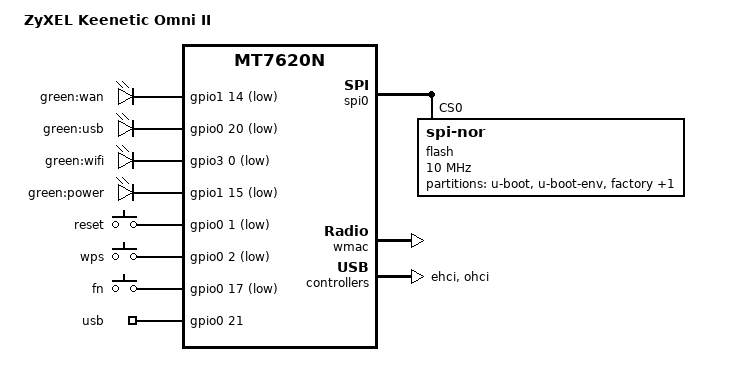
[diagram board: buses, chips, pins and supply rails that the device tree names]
#include "mt7620n.dtsi"

#include <dt-bindings/gpio/gpio.h>
#include <dt-bindings/input/input.h>

/ {
	compatible = "zyxel,keenetic-omni-ii", "ralink,mt7620n-soc";
	model = "ZyXEL Keenetic Omni II";

	aliases {
		led-boot = &led_power;
		led-failsafe = &led_power;
		led-running = &led_power;
		led-upgrade = &led_power;
	};

	leds {
		compatible = "gpio-leds";

		wan {
			label = "green:wan";
			gpios = <&gpio1 14 GPIO_ACTIVE_LOW>;
		};

		usb {
			label = "green:usb";
			gpios = <&gpio0 20 GPIO_ACTIVE_LOW>;
			trigger-sources = <&ohci_port1>, <&ehci_port1>;
			linux,default-trigger = "usbport";
		};

		wifi {
			label = "green:wifi";
			gpios = <&gpio3 0 GPIO_ACTIVE_LOW>;
		};

		led_power: power {
			label = "green:power";
			gpios = <&gpio1 15 GPIO_ACTIVE_LOW>;
		};
	};

	keys {
		compatible = "gpio-keys";

		reset {
			label = "reset";
			gpios = <&gpio0 1 GPIO_ACTIVE_LOW>;
			linux,code = <KEY_RESTART>;
		};

		wps {
			label = "wps";
			gpios = <&gpio0 2 GPIO_ACTIVE_LOW>;
			linux,code = <KEY_WPS_BUTTON>;
		};

		fn {
			label = "fn";
			gpios = <&gpio0 17 GPIO_ACTIVE_LOW>;
			linux,code = <BTN_0>;
		};
	};

	gpio_export {
		compatible = "gpio-export";
		#size-cells = <0>;

		usb_power {
			gpio-export,name = "usb";
			gpio-export,output = <1>;
			gpios = <&gpio0 21 GPIO_ACTIVE_HIGH>;
		};
	};
};

&gpio1 {
	status = "okay";
};

&gpio3 {
	status = "okay";
};

&spi0 {
	status = "okay";

	flash@0 {
		compatible = "jedec,spi-nor";
		reg = <0>;
		spi-max-frequency = <10000000>;

		partitions {
			compatible = "fixed-partitions";
			#address-cells = <1>;
			#size-cells = <1>;

			partition@0 {
				label = "u-boot";
				reg = <0x0 0x30000>;
				read-only;
			};

			partition@30000 {
				label = "u-boot-env";
				reg = <0x30000 0x10000>;
				read-only;
			};

			factory: partition@40000 {
				label = "factory";
				reg = <0x40000 0x10000>;
				read-only;
			};

			partition@50000 {
				compatible = "denx,uimage";
				label = "firmware";
				reg = <0x50000 0x7b0000>;
			};
		};
	};
};

&state_default {
	gpio {
		groups = "i2c", "wdt", "pa", "spi refclk", "wled";
		function = "gpio";
	};
};

&ethernet {
	nvmem-cells = <&macaddr_factory_4>;
	nvmem-cell-names = "mac-address";

	mediatek,portmap = "wllll";
};

&wmac {
	ralink,mtd-eeprom = <&factory 0x0>;
};

&ehci {
	status = "okay";
};

&ohci {
	status = "okay";
};

&factory {
	compatible = "nvmem-cells";
	#address-cells = <1>;
	#size-cells = <1>;

	macaddr_factory_4: macaddr@4 {
		reg = <0x4 0x6>;
	};
};
